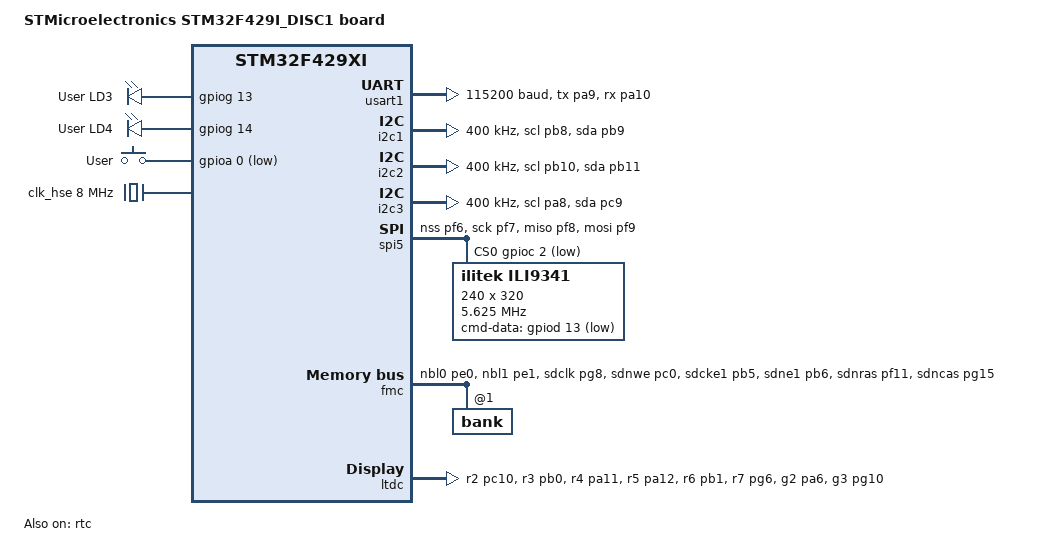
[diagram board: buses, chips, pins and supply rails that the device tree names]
/*
 * Copyright (c) 2017 Linaro Limited
 *
 * SPDX-License-Identifier: Apache-2.0
 */

/dts-v1/;
#include <st/f4/stm32f429Xi.dtsi>
#include <st/f4/stm32f429zitx-pinctrl.dtsi>
#include <zephyr/dt-bindings/display/stm32_ltdc.h>
#include <zephyr/dt-bindings/display/ili9xxx.h>

/ {
	model = "STMicroelectronics STM32F429I_DISC1 board";
	compatible = "st,stm32f4discovery";

	chosen {
		zephyr,console = &usart1;
		zephyr,shell-uart = &usart1;
		zephyr,sram = &sram0;
		zephyr,flash = &flash0;
		zephyr,ccm = &ccm0;
		zephyr,display = &ili9341;
	};

	sdram2: sdram@d0000000 {
		compatible = "zephyr,memory-region", "mmio-sram";
		device_type = "memory";
		reg = <0xd0000000 DT_SIZE_M(8)>;
		zephyr,memory-region = "SDRAM2";
	};

	leds {
		compatible = "gpio-leds";
		orange_led_3: led_3 {
			gpios = <&gpiog 13 GPIO_ACTIVE_HIGH>;
			label = "User LD3";
		};
		green_led_4: led_4 {
			gpios = <&gpiog 14 GPIO_ACTIVE_HIGH>;
			label = "User LD4";
		};
	};

	gpio_keys {
		compatible = "gpio-keys";
		user_button: button {
			label = "User";
			gpios = <&gpioa 0 GPIO_ACTIVE_LOW>;
		};
	};

	aliases {
		led0 = &green_led_4;
		sw0 = &user_button;
	};
};

&clk_hse {
	clock-frequency = <DT_FREQ_M(8)>;
	status = "okay";
};

&pll {
	div-m = <8>;
	mul-n = <336>;
	div-p = <2>;
	div-q = <7>;
	clocks = <&clk_hse>;
	status = "okay";
};

&rcc {
	clocks = <&pll>;
	clock-frequency = <DT_FREQ_M(168)>;
	ahb-prescaler = <1>;
	apb1-prescaler = <4>;
	apb2-prescaler = <2>;
};

&usart1 {
	pinctrl-0 = <&usart1_tx_pa9 &usart1_rx_pa10>;
	pinctrl-names = "default";
	current-speed = <115200>;
	status = "okay";
};

&rtc {
	status = "okay";
};

&i2c1 {
	pinctrl-0 = <&i2c1_scl_pb8 &i2c1_sda_pb9>;
	pinctrl-names = "default";
	status = "okay";
	clock-frequency = <I2C_BITRATE_FAST>;
};

&i2c2 {
	pinctrl-0 = <&i2c2_scl_pb10 &i2c2_sda_pb11>;
	pinctrl-names = "default";
	status = "okay";
	clock-frequency = <I2C_BITRATE_FAST>;
};

&i2c3 {
	pinctrl-0 = <&i2c3_scl_pa8 &i2c3_sda_pc9>;
	pinctrl-names = "default";
	status = "okay";
	clock-frequency = <I2C_BITRATE_FAST>;
};

&spi5 {
	pinctrl-0 = <&spi5_nss_pf6 &spi5_sck_pf7
		     &spi5_miso_pf8 &spi5_mosi_pf9>;
	pinctrl-names = "default";
	status = "okay";
	cs-gpios = <&gpioc 2 GPIO_ACTIVE_LOW>;
	ili9341: ili9341@0 {
		compatible = "ilitek,ili9341";
		label = "ILI9341";
		spi-max-frequency = <5625000>;
		reg = <0>;
		cmd-data-gpios = <&gpiod 13 GPIO_ACTIVE_LOW>;
		width = <240>;
		height = <320>;
		rotation = <180>;
		pixel-format = <ILI9XXX_PIXEL_FORMAT_RGB565>;
		pwctrla = [39 2c 00 34 02];
		pwctrlb = [00 c1 30];
		timctrla = [85 00 78];
		timctrlb = [00 00];
		pwseqctrl = [64 03 12 81];
		pumpratioctrl = [20];
		disctrl = [08 82 27];
		vmctrl1 = [45 15];
		vmctrl2 = [90];
		enable3g = [00];
		ifctl = [01 00 06];
		ifmode = [c2];
		gamset = [01];
		frmctr1 = [00 1b];
		pwctrl1 = [10];
		pwctrl2 = [10];
		pgamctrl = [0F 29 24 0c 0e 09 4e 78 3c 09 13 05 17 11 00];
		ngamctrl = [00 16 1b 04 11 07 31 33 42 05 0c 0a 28 2f 0f];
	};
};

&fmc {
	status = "okay";
	pinctrl-0 = <&fmc_nbl0_pe0 &fmc_nbl1_pe1
		     &fmc_sdclk_pg8 &fmc_sdnwe_pc0 &fmc_sdcke1_pb5
		     &fmc_sdne1_pb6 &fmc_sdnras_pf11 &fmc_sdncas_pg15
		     &fmc_a0_pf0 &fmc_a1_pf1 &fmc_a2_pf2 &fmc_a3_pf3
		     &fmc_a4_pf4 &fmc_a5_pf5 &fmc_a6_pf12 &fmc_a7_pf13
		     &fmc_a8_pf14 &fmc_a9_pf15 &fmc_a10_pg0 &fmc_a11_pg1
		     &fmc_a12_pg2 &fmc_a13_pg3 &fmc_a14_pg4 &fmc_a15_pg5
		     &fmc_d0_pd14 &fmc_d1_pd15 &fmc_d2_pd0 &fmc_d3_pd1
		     &fmc_d4_pe7 &fmc_d5_pe8 &fmc_d6_pe9 &fmc_d7_pe10
		     &fmc_d8_pe11 &fmc_d9_pe12 &fmc_d10_pe13 &fmc_d11_pe14
		     &fmc_d12_pe15 &fmc_d13_pd8 &fmc_d14_pd9 &fmc_d15_pd10>;
	pinctrl-names = "default";

	sdram {
		status = "okay";

		power-up-delay = <100>;
		num-auto-refresh = <1>;
		mode-register = <0>;
		refresh-rate = <1386>;

		bank@1 {
			reg = <1>;

			st,sdram-control = <STM32_FMC_SDRAM_NC_8
					    STM32_FMC_SDRAM_NR_12
					    STM32_FMC_SDRAM_MWID_16
					    STM32_FMC_SDRAM_NB_4
					    STM32_FMC_SDRAM_CAS_2
					    STM32_FMC_SDRAM_SDCLK_PERIOD_3
					    STM32_FMC_SDRAM_RBURST_DISABLE
					    STM32_FMC_SDRAM_RPIPE_1>;
			st,sdram-timing = <2 7 4 7 2 2 2>;
		};
	};
};

&ltdc {
	pinctrl-0 = <&ltdc_r2_pc10 &ltdc_r3_pb0 &ltdc_r4_pa11 &ltdc_r5_pa12
		     &ltdc_r6_pb1 &ltdc_r7_pg6 &ltdc_g2_pa6 &ltdc_g3_pg10
		     &ltdc_g4_pb10 &ltdc_g5_pb11 &ltdc_g6_pc7 &ltdc_g7_pd3
		     &ltdc_b2_pd6 &ltdc_b3_pg11 &ltdc_b4_pg12 &ltdc_b5_pa3
		     &ltdc_b6_pb8 &ltdc_b7_pb9 &ltdc_de_pf10 &ltdc_clk_pg7
		     &ltdc_hsync_pc6 &ltdc_vsync_pa4>;
	pinctrl-names = "default";
	ext-sdram = <&sdram2>;
	status = "okay";

	width = <240>;
	height = <320>;
	hsync-pol = <STM32_LTDC_HSPOL_ACTIVE_LOW>;
	vsync-pol = <STM32_LTDC_VSPOL_ACTIVE_LOW>;
	de-pol = <STM32_LTDC_DEPOL_ACTIVE_LOW>;
	pclk-pol = <STM32_LTDC_PCPOL_ACTIVE_LOW>;
	hsync-duration = <10>;
	vsync-duration = <2>;
	hbp-duration = <20>;
	vbp-duration = <2>;
	hfp-duration = <10>;
	vfp-duration = <4>;
	def-back-color-red = <0xFF>;
	def-back-color-green = <0xFF>;
	def-back-color-blue = <0xFF>;
};
